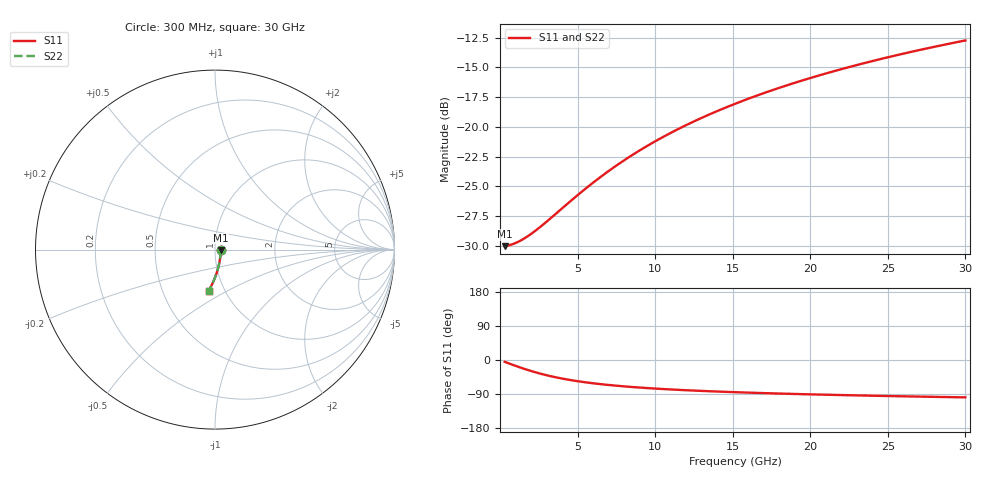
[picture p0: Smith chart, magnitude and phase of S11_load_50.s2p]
! Created Tue Apr 13 08:56:19 2021
# hz S ri R 50
! 2 Port Network Data from SP1.SP block
! freq  reS11  imS11  reS21  imS21  reS12  imS12  reS22  imS22
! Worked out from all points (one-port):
!   100 points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, 300 MHz to 30 GHz, reference 50 ohm
!   lowest |S11| = -30.0 dB at 300 MHz (marker M1), VSWR 1.07, Z = 53.2 - j0.275 ohm
!   |S11| at or under -10 dB: start of sweep to end of sweep
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3e8  0.0315 -0.00258  0 0  0 0  0.0315 -0.00258
6e8  0.0314 -0.00516  0 0  0 0  0.0314 -0.00516
9e8  0.0314 -0.00774  0 0  0 0  0.0314 -0.00774
1.2e9  0.0313 -0.0103  0 0  0 0  0.0313 -0.0103
1.5e9  0.0312 -0.0129  0 0  0 0  0.0312 -0.0129
2.1e9  0.031 -0.0181  0 0  0 0  0.031 -0.0181
3e9  0.0306 -0.0258  0 0  0 0  0.0306 -0.0258
5.4e9  0.0286 -0.0461  0 0  0 0  0.0286 -0.0461
6.6e9  0.0272 -0.0562  0 0  0 0  0.0272 -0.0562
7.8e9  0.0255 -0.0662  0 0  0 0  0.0255 -0.0662
9e9  0.0237 -0.076  0 0  0 0  0.0237 -0.076
1.02e10  0.0216 -0.0857  0 0  0 0  0.0216 -0.0857
1.14e10  0.0193 -0.0953  0 0  0 0  0.0193 -0.0953
1.26e10  0.0169 -0.1048  0 0  0 0  0.0169 -0.1048
1.38e10  0.0142 -0.1141  0 0  0 0  0.0142 -0.1141
1.53e10  0.0107 -0.1256  0 0  0 0  0.0107 -0.1256
1.77e10  0.00458 -0.1436  0 0  0 0  0.00458 -0.1436
2.01e10  -0.00208 -0.161  0 0  0 0  -0.00208 -0.161
2.25e10  -0.00924 -0.178  0 0  0 0  -0.00924 -0.178
2.52e10  -0.0179 -0.1965  0 0  0 0  -0.0179 -0.1965
2.76e10  -0.026 -0.2125  0 0  0 0  -0.026 -0.2125
3e10  -0.0345 -0.2279  0 0  0 0  -0.0345 -0.2279
